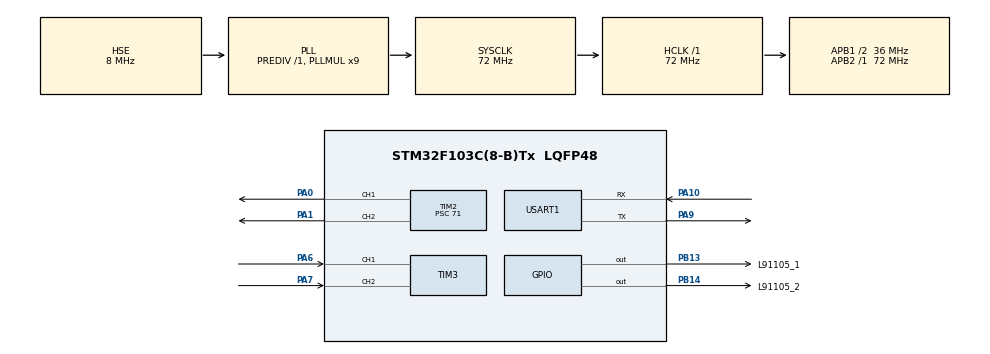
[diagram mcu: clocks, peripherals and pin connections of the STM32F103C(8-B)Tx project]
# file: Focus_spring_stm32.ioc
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Mcu.Family=STM32F1
Mcu.Name=STM32F103C(8-B)Tx
Mcu.Package=LQFP48
NVIC.PriorityGroup=NVIC_PRIORITYGROUP_4
NVIC.TIM3_IRQn=true\:0\:0\:false\:false\:true\:true\:true\:true
NVIC.TIM4_IRQn=true\:0\:0\:false\:false\:true\:true\:true\:true
NVIC.USART1_IRQn=true\:0\:0\:false\:false\:true\:true\:true\:true
PA0-WKUP.Signal=S_TIM2_CH1_ETR
PA1.Signal=S_TIM2_CH2
PA10.Mode=Asynchronous
PA10.Signal=USART1_RX
PA13.Mode=Serial_Wire
PA13.Signal=SYS_JTMS-SWDIO
PA14.Mode=Serial_Wire
PA14.Signal=SYS_JTCK-SWCLK
PA6.Signal=S_TIM3_CH1
PA7.Signal=S_TIM3_CH2
PA9.Mode=Asynchronous
PA9.Signal=USART1_TX
PB13.GPIO_Label=L91105_1
PB13.Signal=GPIO_Output
PB14.GPIO_Label=L91105_2
PB14.Signal=GPIO_Output
PD0-OSC_IN.Mode=HSE-External-Oscillator
PD0-OSC_IN.Signal=RCC_OSC_IN
PD1-OSC_OUT.Mode=HSE-External-Oscillator
PD1-OSC_OUT.Signal=RCC_OSC_OUT
ProjectManager.HeapSize=0x200
ProjectManager.StackSize=0x400
ProjectManager.TargetToolchain=MDK-ARM V5.32
RCC.AHBFreq_Value=72000000
RCC.APB1CLKDivider=RCC_HCLK_DIV2
RCC.APB1Freq_Value=36000000
RCC.APB1TimFreq_Value=72000000
RCC.APB2Freq_Value=72000000
RCC.APB2TimFreq_Value=72000000
RCC.HCLKFreq_Value=72000000
RCC.PLLMUL=RCC_PLL_MUL9
RCC.PLLSourceVirtual=RCC_PLLSOURCE_HSE
RCC.SYSCLKFreq_VALUE=72000000
RCC.SYSCLKSource=RCC_SYSCLKSOURCE_PLLCLK
RCC.USBFreq_Value=72000000
SH.S_TIM2_CH1_ETR.0=TIM2_CH1,PWM Generation1 CH1
SH.S_TIM2_CH2.0=TIM2_CH2,PWM Generation2 CH2
SH.S_TIM3_CH1.0=TIM3_CH1,Encoder_Interface
SH.S_TIM3_CH2.0=TIM3_CH2,Encoder_Interface
TIM2.Channel-PWM\ Generation1\ CH1=TIM_CHANNEL_1
TIM2.Channel-PWM\ Generation2\ CH2=TIM_CHANNEL_2
TIM2.Period=99
TIM2.Prescaler=71
TIM3.EncoderMode=TIM_ENCODERMODE_TI12
TIM3.IC1Filter=6
TIM3.IC2Filter=6
TIM4.Period=9999
TIM4.Prescaler=71
USART1.VirtualMode=VM_ASYNC
VP_TIM2_VS_ClockSourceINT.Mode=Internal
VP_TIM4_VS_ClockSourceINT.Mode=Internal
board=custom

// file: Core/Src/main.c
/* USER CODE BEGIN Header */
/**
  ******************************************************************************
  * @file           : main.c
  * @brief          : Main program body
  ******************************************************************************
  * @attention
  *
  * Copyright (c) 2026 STMicroelectronics.
  * All rights reserved.
  *
  * This software is licensed under terms that can be found in the LICENSE file
  * in the root directory of this software component.
  * If no LICENSE file comes with this software, it is provided AS-IS.
  *
  ******************************************************************************
  */
/* USER CODE END Header */
#include "main.h"
#include "tim.h"
#include "usart.h"
#include "gpio.h"

/* USER CODE BEGIN Includes */
#include "pid.h"
#include "encoder.h"
#include <stdio.h>
#include <string.h>
#include <math.h>   // fabsf
#include <stdlib.h>
/* USER CODE END Includes */

/* USER CODE BEGIN PTD */
typedef enum
{
    STOP = 0,
	  START,
    GPIO_DRIVE,
    PWM_DRIVE,
    FORWARD,
    REVERSE,
	  SET_SPEED,
	  UNKNOWN_STATE,
    ERROR_STATE
} MotorState;

typedef enum
{
    EVT_ON = 0,
    EVT_OFF,
    EVT_MODE_GPIO,
    EVT_MODE_PWM,
    EVT_DIR_FORWARD,
    EVT_DIR_REVERSE,
    EVT_SPEED,
    EVT_STATUS,
    EVT_ERROR
} MotorEvent;

/* USER CODE END PTD */

/* USER CODE BEGIN PV */
#define RX_BUFFER_SIZE 50

uint8_t rx_byte;
char rx_buffer[RX_BUFFER_SIZE];
uint8_t rx_index = 0;
uint8_t cmd_ready = 0;

MotorState current_state = STOP;

extern UART_HandleTypeDef huart1;

PID_Controller pid_rpm;

static float g_target_rpm=0.0f;
static float last_target =0.0f;

volatile float g_current_pid_output = 0.0f;
volatile uint8_t g_pid_update_flag=0;

/* USER CODE END PV */

void SystemClock_Config(void);

/* USER CODE BEGIN 0 */
void TT_SetSpeed(int16_t speed)
{
    if (speed > 100) speed = 100;
    if (speed < -100) speed = -100;

    int32_t duty = speed;

//	  char buf[32];
//    sprintf(buf, "CCR1: %lu, CCR2: %lu\r\n",
//            (unsigned long)__HAL_TIM_GET_COMPARE(&htim2, TIM_CHANNEL_1),
//            (unsigned long)__HAL_TIM_GET_COMPARE(&htim2, TIM_CHANNEL_2));
//    HAL_UART_Transmit(&huart1, (uint8_t*)buf, strlen(buf), 100);

    if (speed > 0) {
        __HAL_TIM_SET_COMPARE(&htim2, TIM_CHANNEL_1, duty);
        __HAL_TIM_SET_COMPARE(&htim2, TIM_CHANNEL_2, 0);
    }
    else if (speed < 0) {
        __HAL_TIM_SET_COMPARE(&htim2, TIM_CHANNEL_1, 0);
        __HAL_TIM_SET_COMPARE(&htim2, TIM_CHANNEL_2, -duty);
    }
    else {
        __HAL_TIM_SET_COMPARE(&htim2, TIM_CHANNEL_1, 0);
        __HAL_TIM_SET_COMPARE(&htim2, TIM_CHANNEL_2, 0);
    }
}

void HAL_TIM_PeriodElapsedCallback(TIM_HandleTypeDef *htim)
{
	if (htim->Instance == TIM4)
    {
			ENCODER_Update_Count();
			g_pid_update_flag = 1;
    }

}
void HAL_UART_RxCpltCallback(UART_HandleTypeDef *huart)
{
	if (huart->Instance == USART1)
    {
        if (rx_byte == '\n')
        {
            rx_buffer[rx_index] = '\0';
            cmd_ready = 1;
            rx_index = 0;
        }
        else if (rx_byte != '\r')
        {
            if (rx_index < RX_BUFFER_SIZE - 1)
            {
                rx_buffer[rx_index++] = rx_byte;
            }
						else
						{
							rx_index = 0;
						}
        }
        HAL_UART_Receive_IT(&huart1, &rx_byte, 1);
    }
}
const char* MotorStateToString(MotorState state)
{
    switch(state)
    {
        case STOP:        return "STOP";
        case START:       return "START";
        case GPIO_DRIVE:  return "GPIO_DRIVE";
        case PWM_DRIVE:   return "PWM_DRIVE";
        case FORWARD:     return "FORWARD";
        case REVERSE:     return "REVERSE";
        case SET_SPEED:   return "SET_SPEED";
        case ERROR_STATE: return "ERROR_STATE";
        default:          return "UNKNOWN_STATE";
    }
}
MotorEvent GetEventFromString(char *cmd, int *value)
{
    if (strcmp(cmd, "ON") == 0) return EVT_ON;
    if (strcmp(cmd, "OFF") == 0) return EVT_OFF;
    if (strcmp(cmd, "GPIO") == 0) return EVT_MODE_GPIO;
    if (strcmp(cmd, "PWM") == 0) return EVT_MODE_PWM;
    if (strcmp(cmd, "FORWARD") == 0) return EVT_DIR_FORWARD;
    if (strcmp(cmd, "REVERSE") == 0) return EVT_DIR_REVERSE;
    if (strcmp(cmd, "STATUS") == 0) return EVT_STATUS;

    if (strncmp(cmd, "SPEED", 5) == 0)
    {
        if (sscanf(cmd, "%*s %d", value) == 1)
        {
            return EVT_SPEED;
        }
        else
        {
            return EVT_ERROR;
        }
    }
    return EVT_ERROR;
}
void Command_Parse(char *cmd)
{
    int value = 0;
    MotorEvent event = GetEventFromString(cmd, &value);
    const char* msg = NULL;
    switch (event)
    {
        case EVT_ON:current_state=START;break;
        case EVT_OFF:current_state=STOP;break;
        case EVT_MODE_GPIO:current_state=GPIO_DRIVE;break;
        case EVT_MODE_PWM:current_state=PWM_DRIVE;break;
        case EVT_DIR_FORWARD:current_state=FORWARD;HAL_GPIO_WritePin(L91105_1_GPIO_Port, L91105_1_Pin,GPIO_PIN_SET);HAL_GPIO_WritePin(L91105_2_GPIO_Port, L91105_2_Pin,GPIO_PIN_RESET);break;
        case EVT_DIR_REVERSE:current_state=REVERSE;HAL_GPIO_WritePin(L91105_2_GPIO_Port, L91105_2_Pin,GPIO_PIN_SET);HAL_GPIO_WritePin(L91105_1_GPIO_Port, L91105_1_Pin,GPIO_PIN_RESET);break;
        case EVT_STATUS:break;
        case EVT_SPEED:current_state=SET_SPEED;
											PID_SetTarget(&pid_rpm, value);
											if (fabsf(value-last_target) > 5.0f) {PID_Reset(&pid_rpm);}
											last_target = value;
											//g_current_pid_output=0;

											break;
        case EVT_ERROR:current_state=ERROR_STATE;break;
        default:current_state=UNKNOWN_STATE;break;
    }
		 msg = MotorStateToString(current_state);
		 HAL_UART_Transmit(&huart1, (uint8_t*)msg, strlen(msg), HAL_MAX_DELAY);
     HAL_UART_Transmit(&huart1, (uint8_t*)"\r\n", 2, HAL_MAX_DELAY);
}

// 3???
void Encoder_Print_Per_2s(void)
{
    static uint32_t t = 0;
    if(HAL_GetTick() - t >= 2000)
    {
        t = HAL_GetTick();
        char buf[128];
        int32_t total = ENCODER_GetCount();
			  float rpm = ENCODER_GetSpeed_rpm();
			  sprintf(buf, ":%d | :%.2f RPM | :%.1f\r\n", total, rpm ,g_current_pid_output);
        HAL_UART_Transmit(&huart1, (uint8_t*)buf, strlen(buf), 100);
    }
}

/* USER CODE END 0 */

int main(void)
{

  /* MCU Configuration--------------------------------------------------------*/

  /* Reset of all peripherals, Initializes the Flash interface and the Systick. */
  HAL_Init();

  /* Configure the system clock */
  SystemClock_Config();

  /* Initialize all configured peripherals */
  MX_GPIO_Init();
  MX_TIM3_Init();
  MX_TIM4_Init();
  MX_USART1_UART_Init();
  MX_TIM2_Init();
  /* USER CODE BEGIN 2 */
  HAL_TIM_PWM_Start(&htim2, TIM_CHANNEL_1);
	HAL_TIM_PWM_Start(&htim2, TIM_CHANNEL_2);

	HAL_TIM_Encoder_Start(&htim3, TIM_CHANNEL_ALL);

	HAL_TIM_Base_Start_IT(&htim4);

	HAL_UART_Receive_IT(&huart1, &rx_byte, 1);

	ENCODER_Init();

	PID_Init(&pid_rpm,
               20.0f,
               0.4f,
               0.0f,
               -99.0f,
               99.0f,
               20.0f,
               0.85f,
               10.0f,
               PID_DERIV_MODE_MEASURE
      );
	PID_SetTarget(&pid_rpm, g_target_rpm);
  /* USER CODE END 2 */

  /* Infinite loop */
  while (1)
  {

    /* USER CODE BEGIN 3 */
//		if (cmd_ready)
//    {
//        cmd_ready = 0;
//        Command_Parse(rx_buffer);
//    }

		Encoder_Print_Per_2s();
		PID_SetTarget(&pid_rpm, 130);
		if(g_pid_update_flag)
    {
      g_pid_update_flag = 0;

			float current_rpm = ENCODER_GetSpeed_rpm();
			float target_rpm  = PID_GetTarget(&pid_rpm);

			if (fabsf(target_rpm) < 20.0f)
			{
					PID_Reset(&pid_rpm);
					g_current_pid_output = 0.0f;
			}
			else if (fabsf(current_rpm) > 2.5f*fabsf(target_rpm))
			{
					PID_Enable(&pid_rpm, 0);
					g_current_pid_output = 0.0f;
			}
			else
			{
					PID_Enable(&pid_rpm, 1);
					g_current_pid_output =PID_Calculate_Fixed(&pid_rpm, target_rpm, current_rpm);
			}
			TT_SetSpeed(g_current_pid_output);
    }

//    TT_SetSpeed(70);
  }

  /* USER CODE END 3 */
}

void SystemClock_Config(void)
{
  RCC_OscInitTypeDef RCC_OscInitStruct = {0};
  RCC_ClkInitTypeDef RCC_ClkInitStruct = {0};

  /** Initializes the RCC Oscillators according to the specified parameters
  * in the RCC_OscInitTypeDef structure.
  */
  RCC_OscInitStruct.OscillatorType = RCC_OSCILLATORTYPE_HSE;
  RCC_OscInitStruct.HSEState = RCC_HSE_ON;
  RCC_OscInitStruct.HSEPredivValue = RCC_HSE_PREDIV_DIV1;
  RCC_OscInitStruct.HSIState = RCC_HSI_ON;
  RCC_OscInitStruct.PLL.PLLState = RCC_PLL_ON;
  RCC_OscInitStruct.PLL.PLLSource = RCC_PLLSOURCE_HSE;
  RCC_OscInitStruct.PLL.PLLMUL = RCC_PLL_MUL9;
  if (HAL_RCC_OscConfig(&RCC_OscInitStruct) != HAL_OK)
  {
    Error_Handler();
  }

  /** Initializes the CPU, AHB and APB buses clocks
  */
  RCC_ClkInitStruct.ClockType = RCC_CLOCKTYPE_HCLK|RCC_CLOCKTYPE_SYSCLK
                              |RCC_CLOCKTYPE_PCLK1|RCC_CLOCKTYPE_PCLK2;
  RCC_ClkInitStruct.SYSCLKSource = RCC_SYSCLKSOURCE_PLLCLK;
  RCC_ClkInitStruct.AHBCLKDivider = RCC_SYSCLK_DIV1;
  RCC_ClkInitStruct.APB1CLKDivider = RCC_HCLK_DIV2;
  RCC_ClkInitStruct.APB2CLKDivider = RCC_HCLK_DIV1;

  if (HAL_RCC_ClockConfig(&RCC_ClkInitStruct, FLASH_LATENCY_2) != HAL_OK)
  {
    Error_Handler();
  }
}

void Error_Handler(void)
{
  __disable_irq();
  while (1)
  {
  }
}
